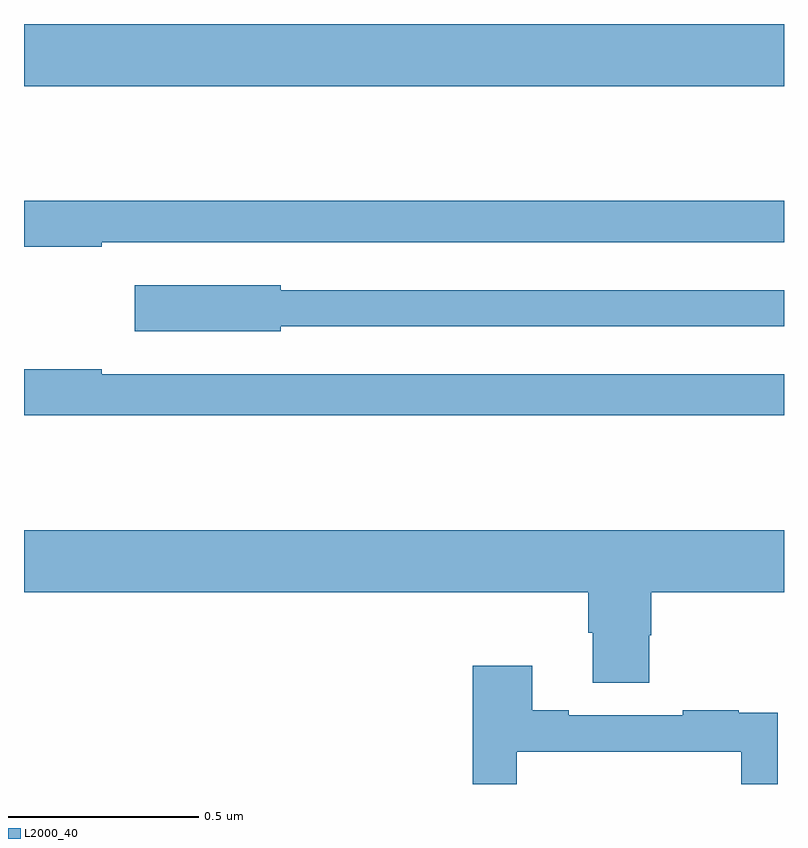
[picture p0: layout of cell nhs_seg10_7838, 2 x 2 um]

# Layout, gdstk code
import gdstk
lib = gdstk.Library(unit=1e-6, precision=1e-09)
def R(c, l, rs):  # rectangles x0, y0, x1, y1
    for r in rs: c.add(gdstk.rectangle(r[:2], r[2:], *l))
def P(c, l, *ps):  # polygons
    for p in ps: c.add(gdstk.Polygon(p, *l))
L2000_40 = (2000, 40)

nhs_seg10_7838 = lib.new_cell('nhs_seg10_7838')
R(nhs_seg10_7838, L2000_40, [(209,1280.336,211,1280.5)])
P(nhs_seg10_7838, L2000_40, [(209.204,1279.926),(211,1279.926),(211,1280.035),(209,1280.035),(209,1279.914),(209.204,1279.914)],
  [(209.676,1279.704),(211,1279.704),(211,1279.8),(209.676,1279.8),(209.676,1279.813),(209.292,1279.813),(209.292,1279.691),(209.676,1279.691)],
  [(211,1279.578),(209.204,1279.578),(209.204,1279.591),(209,1279.591),(209,1279.47),(211,1279.47)],
  [(210.645,1278.891),(210.65,1278.891),(210.65,1279.004),(211,1279.004),(211,1279.168),(209,1279.168),(209,1279.004),(210.485,1279.004),(210.485,1278.898),(210.497,1278.898),(210.497,1278.766),(210.645,1278.766)],
  [(210.297,1278.585),(210.888,1278.585),(210.888,1278.5),(210.984,1278.5),(210.984,1278.578),(210.983,1278.578),(210.983,1278.687),(210.881,1278.687),(210.881,1278.694),(210.733,1278.694),(210.733,1278.681),(210.433,1278.681),(210.433,1278.694),(210.337,1278.694),(210.337,1278.811),(210.181,1278.811),(210.181,1278.5),(210.297,1278.5)])

lib.write_gds('nhs_seg10_7838.gds')
